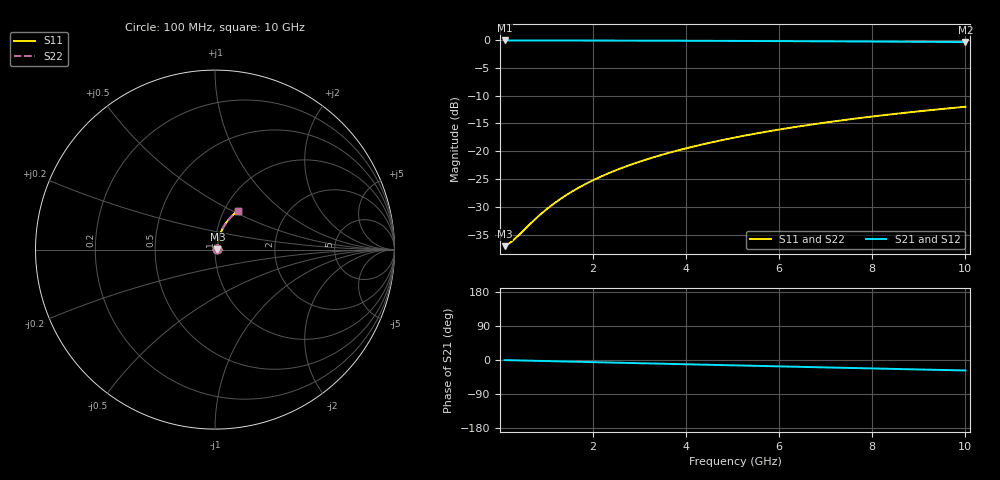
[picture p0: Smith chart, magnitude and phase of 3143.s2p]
# Hz S RI R 50.00
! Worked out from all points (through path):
!   100 points, 100 MHz to 10 GHz, reference 50 ohm
!   highest |S21| = -0.12 dB at 100 MHz (marker M1); lowest = -0.4 dB at 10 GHz (marker M2)
!   group delay of S21, straight-line fit = 7.69 ps
!   lowest |S11| = -37.0 dB at 100 MHz (marker M3), VSWR 1.03, Z = 51.4 + j0.267 ohm
!   |S11| at or under -10 dB: start of sweep to end of sweep
!   |S22| runs from -37.0 to -12.0 dB; largest |S21 - S12| = 0
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1e8  0.0139 0.0026  0.9861 -0.00486  0.9861 -0.00486  0.0139 0.0026
2e8  0.014 0.00519  0.986 -0.00972  0.986 -0.00972  0.014 0.00519
3e8  0.0141 0.00778  0.9858 -0.0146  0.9858 -0.0146  0.0141 0.00778
8e8  0.015 0.0207  0.9848 -0.0388  0.9848 -0.0388  0.015 0.0207
9e8  0.0153 0.0233  0.9845 -0.0437  0.9845 -0.0437  0.0153 0.0233
1.1e9  0.0159 0.0284  0.9838 -0.0534  0.9838 -0.0534  0.0159 0.0284
1.4e9  0.0169 0.0361  0.9826 -0.0679  0.9826 -0.0679  0.0169 0.0361
1.6e9  0.0177 0.0413  0.9816 -0.0775  0.9816 -0.0775  0.0177 0.0413
1.8e9  0.0186 0.0464  0.9805 -0.0871  0.9805 -0.0871  0.0186 0.0464
2.1e9  0.0201 0.054  0.9787 -0.1015  0.9787 -0.1015  0.0201 0.054
2.5e9  0.0225 0.064  0.9758 -0.1206  0.9758 -0.1206  0.0225 0.064
2.9e9  0.0253 0.0739  0.9725 -0.1396  0.9725 -0.1396  0.0253 0.0739
3.4e9  0.0293 0.0862  0.9676 -0.1632  0.9676 -0.1632  0.0293 0.0862
3.8e9  0.0329 0.0958  0.9633 -0.1819  0.9633 -0.1819  0.0329 0.0958
4.2e9  0.0369 0.1052  0.9584 -0.2004  0.9584 -0.2004  0.0369 0.1052
4.6e9  0.0412 0.1145  0.9532 -0.2188  0.9532 -0.2188  0.0412 0.1145
5.1e9  0.0472 0.1258  0.946 -0.2414  0.946 -0.2414  0.0472 0.1258
5.9e9  0.0577 0.1431  0.9332 -0.2769  0.9332 -0.2769  0.0577 0.1431
6.7e9  0.0694 0.1595  0.9187 -0.3115  0.9187 -0.3115  0.0694 0.1595
7.5e9  0.0823 0.1749  0.9028 -0.3451  0.9028 -0.3451  0.0823 0.1749
8.4e9  0.0981 0.1908  0.8833 -0.3815  0.8833 -0.3815  0.0981 0.1908
1e10  0.1288 0.2153  0.8447 -0.4425  0.8447 -0.4425  0.1288 0.2153
